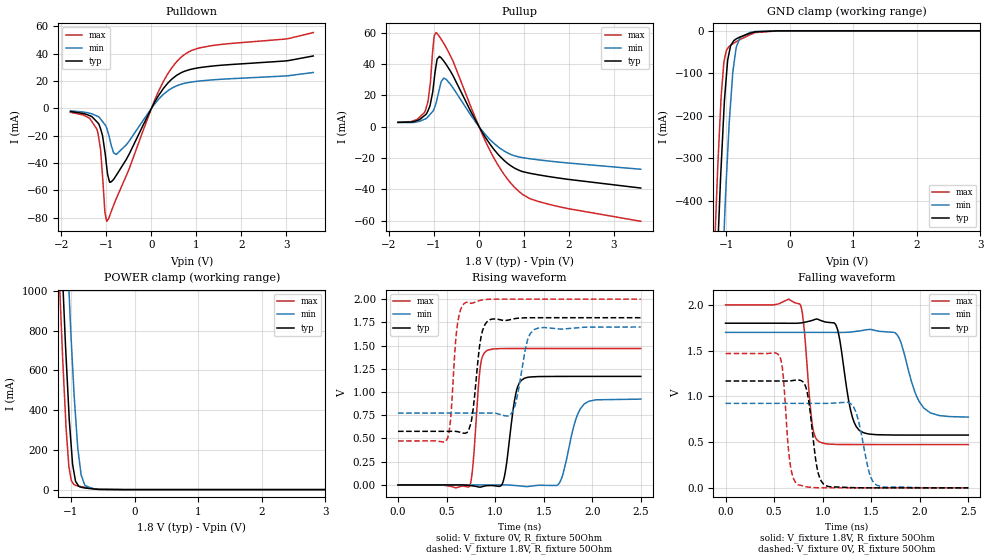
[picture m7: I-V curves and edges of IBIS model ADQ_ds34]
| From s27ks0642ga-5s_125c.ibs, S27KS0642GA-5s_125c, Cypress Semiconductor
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[Model]   ADQ_ds34
Model_type   I/O
Polarity   Non-Inverting
Enable   Active-High
Vinl = 0.54
Vinh = 1.26
Vmeas = 0.9
Vref = 0.9
Cref = 15pF
|   typ   min   max
C_comp   1.03pF   1.01pF   1.05pF
[Voltage Range]   1.8   1.7   2
[Temperature Range]   25   125   -40
[Pullup Reference]   1.8   1.7   2
[Pulldown Reference]   0   0   0
[Power Clamp Reference]   1.8   1.7   2
[GND Clamp Reference]   0   0   0
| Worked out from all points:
|   slope of the pulldown table from 0 to 0.27 V, typ, clamps not added: 18.2 ohm
|   slope of the pullup table from 0 to 0.27 V, typ, clamps not added: 22 ohm
|   falling waveform, V_fixture 1.8V, R_fixture 50Ohm: 20-80 % time 109ps typ, 160ps min, 70ps max; typ from 1.8 V to 0.577 V
|   rising waveform, V_fixture 0V, R_fixture 50Ohm: 20-80 % time 86.2ps typ, 128ps min, 59.2ps max; typ from 0 V to 1.17 V
|   rising waveform, V_fixture 1.8V, R_fixture 50Ohm: 20-80 % time 74.7ps typ, 95.1ps min, 61.3ps max; typ from 0.577 V to 1.8 V
|   falling waveform, V_fixture 0V, R_fixture 50Ohm: 20-80 % time 81.1ps typ, 108ps min, 63.2ps max; typ from 1.17 V to 0 V
[Pulldown]
|   Voltage   I(typ)   I(min)   I(max)
-1.8V     -2.359mA   -1.834mA   -2.933mA
-1.374V   -5.373mA   -3.621mA   -7.265mA
-1.214V   -9.839mA   -5.612mA   -15.16mA
-1.13V    -15.01mA   -7.863mA   -30.24mA
-1.034V   -31.79mA   -11.91mA   -76.11mA
-994mV    -42.88mA   -14.48mA   -82.71mA
-928.8mV  -54.16mA   -22.18mA   -78.76mA
-782mV    -49.14mA   -33.83mA   -66.17mA
142mV     8.49mA     5.869mA    11.29mA
648mV     25.8mA     17.48mA    37.02mA
1.118V    29.99mA    20.14mA    44.54mA
3.6V      38.3mA     26.21mA    55.44mA
[GND Clamp]
|   Voltage   I(typ)   I(min)   I(max)
-1.8V     -3.484A    -3.81A     -3.305A
-1.166V   -646mA     -987.1mA   -455.4mA
-1.13V    -506.4mA   -848.3mA   -317mA
-1.078V   -320.4mA   -650.2mA   -155.3mA
-1.026V   -163.8mA   -452.1mA   -67.31mA
-975.6mV  -69.57mA   -288.8mA   -41.68mA
-950mV    -50.35mA   -214.7mA   -36.56mA
-893.9mV  -26.72mA   -96.93mA   -30.55mA
-841.2mV  -19.1mA    -39.34mA   -25.75mA
-783mV    -14.58mA   -16.52mA   -20.79mA
-536mV    -2.484mA   -1.441mA   -3.994mA
3.6V      0A         0A         0A
[Pullup]
|   Voltage   I(typ)   I(min)   I(max)
-1.8V     2.708mA    2.617mA    2.774mA
-1.374V   3.941mA    3.054mA    4.575mA
-1.188V   7.539mA    4.957mA    10.46mA
-1.087V   13.35mA    7.786mA    26.27mA
-996mV    29.74mA    11.35mA    57.78mA
-952mV    39.1mA     15.07mA    60.04mA
-841.2mV  43.96mA    28.57mA    55.89mA
-730.7mV  39.77mA    30.28mA    50.59mA
255.3mV   -11.54mA   -8.575mA   -15.79mA
902mV     -28.02mA   -19.46mA   -41.7mA
1.55V     -31.88mA   -21.97mA   -49.56mA
3.6V      -39.24mA   -27.24mA   -60.46mA
[POWER Clamp]
|   Voltage   I(typ)   I(min)   I(max)
-1.8V     6.849A     7.494A     6.488A
-1.172V   1.366A     2.067A     969mA
-1.129V   1.033A     1.733A     639.2mA
-1.078V   667.7mA    1.349A     309.3mA
-1.028V   350.9mA    967.8mA    104.5mA
-975.6mV  127.2mA    620.5mA    35.24mA
-952mV    83.41mA    477.8mA    24.73mA
-895.6mV  25.23mA    214.7mA    18.32mA
-841.2mV  11.82mA    73.44mA    14.71mA
-781.7mV  8.001mA    20.31mA    11.44mA
-625.3mV  2.553mA    2.22mA     3.912mA
3.6V      0A         0A         0A
[Ramp]
R_load = 50
|   typ   min   max
dV/dt_r 7.0096E-01/8.5820E-11   5.5417E-01/1.2622E-10   8.8117E-01/5.8960E-11
dV/dt_f 7.3377E-01/1.0835E-10   5.5550E-01/1.5844E-10   9.1597E-01/6.9682E-11
[Falling Waveform]
V_fixture = 1.8V
V_fixture_min = 1.7V
V_fixture_max = 2V
R_fixture = 50Ohm
C_fixture = 0F
|   Time   V(typ)   V(min)   V(max)
0s        1.8V       1.7V       2V
765ps     1.802V     1.7V       2.01V
895ps     1.831V     1.7V       681mV
970ps     1.834V     1.7V       501mV
1.15ns    1.745V     1.699V     474.8mV
1.285ns   863.5mV    1.703V     473.6mV
1.375ns   631mV      1.715V     473.5mV
1.75ns    577.5mV    1.693V     473.4mV
2.04ns    577.1mV    874.5mV    473.4mV
2.5ns     577mV      774.2mV    473.4mV
[Rising Waveform]
V_fixture = 0V
V_fixture_min = 0V
V_fixture_max = 0V
R_fixture = 50Ohm
C_fixture = 0F
|   Time   V(typ)   V(min)   V(max)
0s        0V         0V         0V
735ps     -5.583mV   0V         -16.89mV
770ps     -10.28mV   0V         191.2mV
845ps     -23.86mV   0V         1.251V
915ps     -7.827mV   -27.99uV   1.446V
1.085ns   43.45mV    572uV      1.468V
1.27ns    1.126V     -11.87mV   1.468V
1.665ns   1.168V     25.37mV    1.469V
1.92ns    1.168V     873.4mV    1.469V
2.5ns     1.168V     923.6mV    1.469V
[Rising Waveform]
V_fixture = 1.8V
V_fixture_min = 1.7V
V_fixture_max = 2V
R_fixture = 50Ohm
C_fixture = 0F
|   Time   V(typ)   V(min)   V(max)
0s        577.1mV    773mV      473.4mV
510ps     577.1mV    773mV      501.2mV
610ps     574.4mV    773mV      1.711V
690ps     556.7mV    773mV      1.959V
760ps     715.1mV    773mV      1.956V
860ps     1.618V     773mV      1.99V
945ps     1.777V     773.8mV    1.999V
1.185ns   1.787V     796.5mV    2V
1.405ns   1.8V       1.674V     2V
2.5ns     1.8V       1.7V       2V
[Falling Waveform]
|Gnd
V_fixture = 0V
V_fixture_min = 0V
V_fixture_max = 0V
R_fixture = 50Ohm
C_fixture = 0F
|   Time   V(typ)   V(min)   V(max)
0s        1.168V     923.8mV    1.469V
555ps     1.168V     923.8mV    1.444V
665ps     1.17V      923.8mV    264.3mV
745ps     1.179V     923.8mV    35.6mV
840ps     1.051V     923.8mV    10.32mV
935ps     262.7mV    923.8mV    1.979mV
1.01ns    40.84mV    923.8mV    491uV
1.31ns    2.297mV    898.4mV    3.65uV
1.555ns   72.23uV    31.52mV    0V
2.5ns     0V         9.263uV    0V
